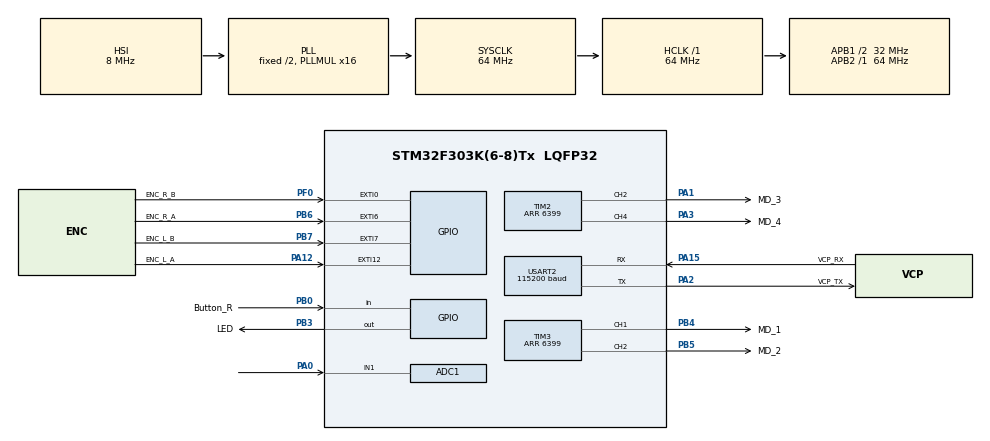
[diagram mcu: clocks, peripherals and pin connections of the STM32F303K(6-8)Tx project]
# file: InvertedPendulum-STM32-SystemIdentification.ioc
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ADC1.Channel-0\#ChannelRegularConversion=ADC_CHANNEL_1
ADC1.InjNumberOfConversion=0
ADC1.NbrOfConversion=1
ADC1.NbrOfConversionFlag=1
ADC1.Offset-0\#ChannelRegularConversion=0
ADC1.OffsetNumber-0\#ChannelRegularConversion=ADC_OFFSET_NONE
ADC1.Rank-0\#ChannelRegularConversion=1
ADC1.Resolution=ADC_RESOLUTION_12B
ADC1.SamplingTime-0\#ChannelRegularConversion=ADC_SAMPLETIME_61CYCLES_5
ADC1.SamplingTimeOPAMP-0\#ChannelRegularConversion=ADC_SAMPLETIME_61CYCLES_5
ADC1.SubFamily=STM32F303x8
ADC1.master=1
Mcu.Family=STM32F3
Mcu.Name=STM32F303K(6-8)Tx
Mcu.Package=LQFP32
NVIC.EXTI0_IRQn=true\:0\:0\:false\:false\:true\:true\:true\:true
NVIC.EXTI15_10_IRQn=true\:0\:0\:false\:false\:true\:true\:true\:true
NVIC.EXTI9_5_IRQn=true\:0\:0\:false\:false\:true\:true\:true\:true
NVIC.PriorityGroup=NVIC_PRIORITYGROUP_4
NVIC.TIM6_DAC1_IRQn=true\:0\:0\:false\:false\:true\:true\:true\:true
PA0.Mode=IN1-Single-Ended
PA0.Signal=ADC1_IN1
PA1.GPIO_Label=MD_3
PA1.Signal=S_TIM2_CH2
PA12.GPIO_Label=ENC_L_A
PA12.GPIO_ModeDefaultEXTI=GPIO_MODE_IT_RISING_FALLING
PA12.GPIO_PuPd=GPIO_PULLUP
PA12.Signal=GPXTI12
PA13.GPIO_Label=SWDIO
PA13.Mode=Serial_Wire
PA13.Signal=SYS_JTMS-SWDIO
PA14.GPIO_Label=SWCLK
PA14.Mode=Serial_Wire
PA14.Signal=SYS_JTCK-SWCLK
PA15.GPIO_Label=VCP_RX
PA15.Mode=Asynchronous
PA15.Signal=USART2_RX
PA2.GPIO_Label=VCP_TX
PA2.Mode=Asynchronous
PA2.Signal=USART2_TX
PA3.GPIO_Label=MD_4
PA3.Signal=S_TIM2_CH4
PB0.GPIO_Label=Button_R
PB0.GPIO_PuPd=GPIO_PULLUP
PB0.Signal=GPIO_Input
PB3.GPIO_Label=LED
PB3.Signal=GPIO_Output
PB4.GPIO_Label=MD_1
PB4.Signal=S_TIM3_CH1
PB5.GPIO_Label=MD_2
PB5.Signal=S_TIM3_CH2
PB6.GPIO_Label=ENC_R_A
PB6.GPIO_ModeDefaultEXTI=GPIO_MODE_IT_RISING_FALLING
PB6.GPIO_PuPd=GPIO_PULLUP
PB6.Signal=GPXTI6
PB7.GPIO_Label=ENC_L_B
PB7.GPIO_ModeDefaultEXTI=GPIO_MODE_IT_RISING_FALLING
PB7.GPIO_PuPd=GPIO_PULLUP
PB7.Signal=GPXTI7
PF0\ /\ OSC_IN.GPIO_Label=ENC_R_B
PF0\ /\ OSC_IN.GPIO_ModeDefaultEXTI=GPIO_MODE_IT_RISING_FALLING
PF0\ /\ OSC_IN.GPIO_PuPd=GPIO_PULLUP
PF0\ /\ OSC_IN.Signal=GPXTI0
ProjectManager.HeapSize=0x200
ProjectManager.StackSize=0x400
ProjectManager.TargetToolchain=STM32CubeIDE
RCC.AHBFreq_Value=64000000
RCC.APB1CLKDivider=RCC_HCLK_DIV2
RCC.APB1Freq_Value=32000000
RCC.APB1TimFreq_Value=64000000
RCC.APB2Freq_Value=64000000
RCC.APB2TimFreq_Value=64000000
RCC.CortexFreq_Value=64000000
RCC.HCLKFreq_Value=64000000
RCC.HSE_VALUE=8000000
RCC.HSI_VALUE=8000000
RCC.PLLMUL=RCC_PLL_MUL16
RCC.SYSCLKFreq_VALUE=64000000
RCC.SYSCLKSourceVirtual=RCC_SYSCLKSOURCE_PLLCLK
SH.S_TIM2_CH2.0=TIM2_CH2,PWM Generation2 CH2
SH.S_TIM2_CH4.0=TIM2_CH4,PWM Generation4 CH4
SH.S_TIM3_CH1.0=TIM3_CH1,PWM Generation1 CH1
SH.S_TIM3_CH2.0=TIM3_CH2,PWM Generation2 CH2
TIM2.Channel-PWM\ Generation2\ CH2=TIM_CHANNEL_2
TIM2.Channel-PWM\ Generation4\ CH4=TIM_CHANNEL_4
TIM2.Period=6399
TIM3.Channel-PWM\ Generation1\ CH1=TIM_CHANNEL_1
TIM3.Channel-PWM\ Generation2\ CH2=TIM_CHANNEL_2
TIM3.Period=6399
TIM6.Period=39999
TIM6.Prescaler=15
USART2.BaudRate=115200
USART2.VirtualMode-Asynchronous=VM_ASYNC
VP_TIM2_VS_ClockSourceINT.Mode=Internal
VP_TIM3_VS_ClockSourceINT.Mode=Internal
VP_TIM6_VS_ClockSourceINT.Mode=Enable_Timer
board=NUCLEO-F303K8

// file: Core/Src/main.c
/* USER CODE BEGIN Header */
/**
 ******************************************************************************
 * @file           : main.c
 * @brief          : Main program body
 ******************************************************************************
 * @attention
 *
 * Copyright (c) 2025 STMicroelectronics.
 * All rights reserved.
 *
 * This software is licensed under terms that can be found in the LICENSE file
 * in the root directory of this software component.
 * If no LICENSE file comes with this software, it is provided AS-IS.
 *
 ******************************************************************************
 */
/* USER CODE END Header */
#include "main.h"

/* USER CODE BEGIN Includes */
#include <stdio.h>
#include <stdbool.h>
#include <math.h>

#include "qei.h"

/* USER CODE END Includes */

/* USER CODE BEGIN PM */
#define PI 3.141592

#define PRESCALER (6399 - 1)

#define ADV_TO_RAD 0.00096633 // (333.3 * ((2.0*pi)/360.0)) / 4.85 * 3.3 / (2^12)
#define MAX_V 7.2
//#define GEAR_RATIO 6.67
//#define ENC_PULSE 12
//#define WHEEL_R 0.0255
#define PULSE_TO_METER 0.0005

#define DT (1.0 / 100.0)
/* USER CODE END PM */

ADC_HandleTypeDef hadc1;

TIM_HandleTypeDef htim2;
TIM_HandleTypeDef htim3;
TIM_HandleTypeDef htim6;

UART_HandleTypeDef huart2;

/* USER CODE BEGIN PV */
bool start = false;

uint16_t ad = 0;
uint16_t zero_ad = 0;
float theta = 0, theta_pre = 0, dtheta = 0;
float x = 0, x_pre = 0, dx = 0;
float e = 0, ed = 0, ei = 0, e_pre = 0;                                 //振子の角度
float v_ref = 0, duty_ratio = 0;                       //電圧指令値　，　デューティー比

QEI_HandleTypeDef hENC_Left, hENC_Right;

int enc_left = 0, enc_right = 0;

uint64_t loop_counter = 0;

//double gain_k[4] = {1.0000, 0.4757, 254.4060, 59.5530};
/* USER CODE END PV */

void SystemClock_Config(void);
static void MX_GPIO_Init(void);
static void MX_USART2_UART_Init(void);
static void MX_TIM2_Init(void);
static void MX_TIM3_Init(void);
static void MX_ADC1_Init(void);
static void MX_TIM6_Init(void);

/* USER CODE BEGIN 0 */
void MoveRightMotor(const float v) {
	float s = v;
	s = s > 1.0 ? 1.0 : s;
	s = s < -1.0 ? -1.0 : s;

	if (s > 0) {
		__HAL_TIM_SET_COMPARE(&htim3, TIM_CHANNEL_1, 0); // 右側 反転
		__HAL_TIM_SET_COMPARE(&htim3, TIM_CHANNEL_2, s * PRESCALER); // 右側 正転
	} else if (s < 0) {
		__HAL_TIM_SET_COMPARE(&htim3, TIM_CHANNEL_1, - s * PRESCALER); // 右側 反転
		__HAL_TIM_SET_COMPARE(&htim3, TIM_CHANNEL_2, 0); // 右側 正転
	} else {
		__HAL_TIM_SET_COMPARE(&htim3, TIM_CHANNEL_1, 0); // 右側 反転
		__HAL_TIM_SET_COMPARE(&htim3, TIM_CHANNEL_2, 0); // 右側 正転
	}
}

void MoveLeftMotor(const float v) {
	float s = v;
	s = s > 1.0 ? 1.0 : s;
	s = s < -1.0 ? -1.0 : s;

	if (s > 0) {
		__HAL_TIM_SET_COMPARE(&htim2, TIM_CHANNEL_2, s * PRESCALER); // 左側 正転
		__HAL_TIM_SET_COMPARE(&htim2, TIM_CHANNEL_4, 0); // 左側 反転
	} else if (s < 0) {
		__HAL_TIM_SET_COMPARE(&htim2, TIM_CHANNEL_2, 0); // 左側 正転
		__HAL_TIM_SET_COMPARE(&htim2, TIM_CHANNEL_4, - s * PRESCALER); // 左側 反転
	} else {
		__HAL_TIM_SET_COMPARE(&htim2, TIM_CHANNEL_2, 0); // 左側 正転
		__HAL_TIM_SET_COMPARE(&htim2, TIM_CHANNEL_4, 0); // 左側 反転
	}
}

void HAL_GPIO_EXTI_Callback(uint16_t GPIO_Pin) {
	if (GPIO_Pin == ENC_L_A_Pin || GPIO_Pin == ENC_L_B_Pin) {
		QEI_Encode(&hENC_Left);
	}
	if (GPIO_Pin == ENC_R_A_Pin || GPIO_Pin == ENC_R_B_Pin) {
		QEI_Encode(&hENC_Right);
	}

}

void HAL_TIM_PeriodElapsedCallback(TIM_HandleTypeDef *htim) {
	if (htim == &htim6) {
		if (start) {
			HAL_ADC_Start(&hadc1);
			if (HAL_ADC_PollForConversion(&hadc1, 10) == HAL_OK) {
				ad = HAL_ADC_GetValue(&hadc1); // 10bit
			}
			HAL_ADC_Stop(&hadc1);

			enc_left += -QEI_GetPulses(&hENC_Left);
			QEI_Reset(&hENC_Left);
			enc_right += QEI_GetPulses(&hENC_Right);
			QEI_Reset(&hENC_Right);

			theta = -(float)(ad - zero_ad) * ADV_TO_RAD; // nop version
			dtheta = (theta - theta_pre) / DT;
			theta_pre = theta;

			x = ((float) (enc_left + enc_right) / 2) * PULSE_TO_METER;
			dx = (x - x_pre) / DT;
			x_pre = x;

//			float frequency = exp(loop_counter / 100.0 * 0.05);
//			float sin_theta = frequency * 2*PI * loop_counter / 100.0;
//			float u = sinf(sin_theta);

			float u = loop_counter / 100.0 * 0.1;

			MoveRightMotor(u);
			MoveLeftMotor(u);

			printf("%f, %f, %f\n", loop_counter / 100.0, u, x);

//			printf("%f, %f\n", loop_counter / 100.0, theta);

			loop_counter++;
		}
	}
}
/* USER CODE END 0 */

int main(void)
{

  /* USER CODE BEGIN 1 */
	setbuf(stdout, NULL);
  /* USER CODE END 1 */

  /* MCU Configuration--------------------------------------------------------*/

  /* Reset of all peripherals, Initializes the Flash interface and the Systick. */
  HAL_Init();

  /* Configure the system clock */
  SystemClock_Config();

  /* Initialize all configured peripherals */
  MX_GPIO_Init();
  MX_USART2_UART_Init();
  MX_TIM2_Init();
  MX_TIM3_Init();
  MX_ADC1_Init();
  MX_TIM6_Init();
  /* USER CODE BEGIN 2 */
	__HAL_TIM_SET_COMPARE(&htim3, TIM_CHANNEL_1, 0); // 右側 反転
	__HAL_TIM_SET_COMPARE(&htim3, TIM_CHANNEL_2, 0); // 右側 正転
	__HAL_TIM_SET_COMPARE(&htim2, TIM_CHANNEL_2, 0); // 左側 正転
	__HAL_TIM_SET_COMPARE(&htim2, TIM_CHANNEL_4, 0); // 左側 反転
	HAL_TIM_PWM_Start(&htim3, TIM_CHANNEL_1);
	HAL_TIM_PWM_Start(&htim3, TIM_CHANNEL_2);
	HAL_TIM_PWM_Start(&htim2, TIM_CHANNEL_2);
	HAL_TIM_PWM_Start(&htim2, TIM_CHANNEL_4);

	HAL_TIM_Base_Start_IT(&htim6);

	QEI_Init(&hENC_Left, ENC_L_A_GPIO_Port, ENC_L_A_Pin, ENC_L_B_GPIO_Port,
			ENC_L_B_Pin, 48, QEI_X4_ENCODING);
	QEI_Init(&hENC_Right, ENC_R_A_GPIO_Port, ENC_R_A_Pin, ENC_R_B_GPIO_Port,
			ENC_R_B_Pin, 48, QEI_X4_ENCODING);
  /* USER CODE END 2 */

  /* Infinite loop */
  /* USER CODE BEGIN WHILE */
	while (1) {
		HAL_GPIO_TogglePin(LED_GPIO_Port, LED_Pin);
		HAL_Delay(100);

		if (!start
				&& HAL_GPIO_ReadPin(Button_R_GPIO_Port, Button_R_Pin)
						== GPIO_PIN_RESET) {
			for (int i = 0; i < 10; i++) {
				HAL_ADC_Start(&hadc1);
				if (HAL_ADC_PollForConversion(&hadc1, 10) == HAL_OK) {
					zero_ad = HAL_ADC_GetValue(&hadc1); // 10bit
				}
				HAL_ADC_Stop(&hadc1);
			}
			HAL_Delay(3000);
			start = true;
		}
    /* USER CODE END WHILE */

	}
}

void SystemClock_Config(void)
{
  RCC_OscInitTypeDef RCC_OscInitStruct = {0};
  RCC_ClkInitTypeDef RCC_ClkInitStruct = {0};
  RCC_PeriphCLKInitTypeDef PeriphClkInit = {0};

  /** Initializes the RCC Oscillators according to the specified parameters
  * in the RCC_OscInitTypeDef structure.
  */
  RCC_OscInitStruct.OscillatorType = RCC_OSCILLATORTYPE_HSI;
  RCC_OscInitStruct.HSIState = RCC_HSI_ON;
  RCC_OscInitStruct.HSICalibrationValue = RCC_HSICALIBRATION_DEFAULT;
  RCC_OscInitStruct.PLL.PLLState = RCC_PLL_ON;
  RCC_OscInitStruct.PLL.PLLSource = RCC_PLLSOURCE_HSI;
  RCC_OscInitStruct.PLL.PLLMUL = RCC_PLL_MUL16;
  if (HAL_RCC_OscConfig(&RCC_OscInitStruct) != HAL_OK)
  {
    Error_Handler();
  }

  /** Initializes the CPU, AHB and APB buses clocks
  */
  RCC_ClkInitStruct.ClockType = RCC_CLOCKTYPE_HCLK|RCC_CLOCKTYPE_SYSCLK
                              |RCC_CLOCKTYPE_PCLK1|RCC_CLOCKTYPE_PCLK2;
  RCC_ClkInitStruct.SYSCLKSource = RCC_SYSCLKSOURCE_PLLCLK;
  RCC_ClkInitStruct.AHBCLKDivider = RCC_SYSCLK_DIV1;
  RCC_ClkInitStruct.APB1CLKDivider = RCC_HCLK_DIV2;
  RCC_ClkInitStruct.APB2CLKDivider = RCC_HCLK_DIV1;

  if (HAL_RCC_ClockConfig(&RCC_ClkInitStruct, FLASH_LATENCY_2) != HAL_OK)
  {
    Error_Handler();
  }
  PeriphClkInit.PeriphClockSelection = RCC_PERIPHCLK_ADC12;
  PeriphClkInit.Adc12ClockSelection = RCC_ADC12PLLCLK_DIV1;
  if (HAL_RCCEx_PeriphCLKConfig(&PeriphClkInit) != HAL_OK)
  {
    Error_Handler();
  }
}

static void MX_ADC1_Init(void)
{

  ADC_MultiModeTypeDef multimode = {0};
  ADC_ChannelConfTypeDef sConfig = {0};

  /** Common config
  */
  hadc1.Instance = ADC1;
  hadc1.Init.ClockPrescaler = ADC_CLOCK_ASYNC_DIV1;
  hadc1.Init.Resolution = ADC_RESOLUTION_12B;
  hadc1.Init.ScanConvMode = ADC_SCAN_DISABLE;
  hadc1.Init.ContinuousConvMode = DISABLE;
  hadc1.Init.DiscontinuousConvMode = DISABLE;
  hadc1.Init.ExternalTrigConvEdge = ADC_EXTERNALTRIGCONVEDGE_NONE;
  hadc1.Init.ExternalTrigConv = ADC_SOFTWARE_START;
  hadc1.Init.DataAlign = ADC_DATAALIGN_RIGHT;
  hadc1.Init.NbrOfConversion = 1;
  hadc1.Init.DMAContinuousRequests = DISABLE;
  hadc1.Init.EOCSelection = ADC_EOC_SINGLE_CONV;
  hadc1.Init.LowPowerAutoWait = DISABLE;
  hadc1.Init.Overrun = ADC_OVR_DATA_OVERWRITTEN;
  if (HAL_ADC_Init(&hadc1) != HAL_OK)
  {
    Error_Handler();
  }

  /** Configure the ADC multi-mode
  */
  multimode.Mode = ADC_MODE_INDEPENDENT;
  if (HAL_ADCEx_MultiModeConfigChannel(&hadc1, &multimode) != HAL_OK)
  {
    Error_Handler();
  }

  /** Configure Regular Channel
  */
  sConfig.Channel = ADC_CHANNEL_1;
  sConfig.Rank = ADC_REGULAR_RANK_1;
  sConfig.SingleDiff = ADC_SINGLE_ENDED;
  sConfig.SamplingTime = ADC_SAMPLETIME_61CYCLES_5;
  sConfig.OffsetNumber = ADC_OFFSET_NONE;
  sConfig.Offset = 0;
  if (HAL_ADC_ConfigChannel(&hadc1, &sConfig) != HAL_OK)
  {
    Error_Handler();
  }

}

static void MX_TIM2_Init(void)
{

  TIM_ClockConfigTypeDef sClockSourceConfig = {0};
  TIM_MasterConfigTypeDef sMasterConfig = {0};
  TIM_OC_InitTypeDef sConfigOC = {0};

  htim2.Instance = TIM2;
  htim2.Init.Prescaler = 0;
  htim2.Init.CounterMode = TIM_COUNTERMODE_UP;
  htim2.Init.Period = 6399;
  htim2.Init.ClockDivision = TIM_CLOCKDIVISION_DIV1;
  htim2.Init.AutoReloadPreload = TIM_AUTORELOAD_PRELOAD_DISABLE;
  if (HAL_TIM_Base_Init(&htim2) != HAL_OK)
  {
    Error_Handler();
  }
  sClockSourceConfig.ClockSource = TIM_CLOCKSOURCE_INTERNAL;
  if (HAL_TIM_ConfigClockSource(&htim2, &sClockSourceConfig) != HAL_OK)
  {
    Error_Handler();
  }
  if (HAL_TIM_PWM_Init(&htim2) != HAL_OK)
  {
    Error_Handler();
  }
  sMasterConfig.MasterOutputTrigger = TIM_TRGO_RESET;
  sMasterConfig.MasterSlaveMode = TIM_MASTERSLAVEMODE_DISABLE;
  if (HAL_TIMEx_MasterConfigSynchronization(&htim2, &sMasterConfig) != HAL_OK)
  {
    Error_Handler();
  }
  sConfigOC.OCMode = TIM_OCMODE_PWM1;
  sConfigOC.Pulse = 0;
  sConfigOC.OCPolarity = TIM_OCPOLARITY_HIGH;
  sConfigOC.OCFastMode = TIM_OCFAST_DISABLE;
  if (HAL_TIM_PWM_ConfigChannel(&htim2, &sConfigOC, TIM_CHANNEL_2) != HAL_OK)
  {
    Error_Handler();
  }
  if (HAL_TIM_PWM_ConfigChannel(&htim2, &sConfigOC, TIM_CHANNEL_4) != HAL_OK)
  {
    Error_Handler();
  }
  HAL_TIM_MspPostInit(&htim2);

}

static void MX_TIM3_Init(void)
{

  TIM_ClockConfigTypeDef sClockSourceConfig = {0};
  TIM_MasterConfigTypeDef sMasterConfig = {0};
  TIM_OC_InitTypeDef sConfigOC = {0};

  htim3.Instance = TIM3;
  htim3.Init.Prescaler = 0;
  htim3.Init.CounterMode = TIM_COUNTERMODE_UP;
  htim3.Init.Period = 6399;
  htim3.Init.ClockDivision = TIM_CLOCKDIVISION_DIV1;
  htim3.Init.AutoReloadPreload = TIM_AUTORELOAD_PRELOAD_DISABLE;
  if (HAL_TIM_Base_Init(&htim3) != HAL_OK)
  {
    Error_Handler();
  }
  sClockSourceConfig.ClockSource = TIM_CLOCKSOURCE_INTERNAL;
  if (HAL_TIM_ConfigClockSource(&htim3, &sClockSourceConfig) != HAL_OK)
  {
    Error_Handler();
  }
  if (HAL_TIM_PWM_Init(&htim3) != HAL_OK)
  {
    Error_Handler();
  }
  sMasterConfig.MasterOutputTrigger = TIM_TRGO_RESET;
  sMasterConfig.MasterSlaveMode = TIM_MASTERSLAVEMODE_DISABLE;
  if (HAL_TIMEx_MasterConfigSynchronization(&htim3, &sMasterConfig) != HAL_OK)
  {
    Error_Handler();
  }
  sConfigOC.OCMode = TIM_OCMODE_PWM1;
  sConfigOC.Pulse = 0;
  sConfigOC.OCPolarity = TIM_OCPOLARITY_HIGH;
  sConfigOC.OCFastMode = TIM_OCFAST_DISABLE;
  if (HAL_TIM_PWM_ConfigChannel(&htim3, &sConfigOC, TIM_CHANNEL_1) != HAL_OK)
  {
    Error_Handler();
  }
  if (HAL_TIM_PWM_ConfigChannel(&htim3, &sConfigOC, TIM_CHANNEL_2) != HAL_OK)
  {
    Error_Handler();
  }
  HAL_TIM_MspPostInit(&htim3);

}

static void MX_TIM6_Init(void)
{

  TIM_MasterConfigTypeDef sMasterConfig = {0};

  htim6.Instance = TIM6;
  htim6.Init.Prescaler = 15;
  htim6.Init.CounterMode = TIM_COUNTERMODE_UP;
  htim6.Init.Period = 39999;
  htim6.Init.AutoReloadPreload = TIM_AUTORELOAD_PRELOAD_DISABLE;
  if (HAL_TIM_Base_Init(&htim6) != HAL_OK)
  {
    Error_Handler();
  }
  sMasterConfig.MasterOutputTrigger = TIM_TRGO_RESET;
  sMasterConfig.MasterSlaveMode = TIM_MASTERSLAVEMODE_DISABLE;
  if (HAL_TIMEx_MasterConfigSynchronization(&htim6, &sMasterConfig) != HAL_OK)
  {
    Error_Handler();
  }

}

static void MX_USART2_UART_Init(void)
{

  huart2.Instance = USART2;
  huart2.Init.BaudRate = 115200;
  huart2.Init.WordLength = UART_WORDLENGTH_8B;
  huart2.Init.StopBits = UART_STOPBITS_1;
  huart2.Init.Parity = UART_PARITY_NONE;
  huart2.Init.Mode = UART_MODE_TX_RX;
  huart2.Init.HwFlowCtl = UART_HWCONTROL_NONE;
  huart2.Init.OverSampling = UART_OVERSAMPLING_16;
  huart2.Init.OneBitSampling = UART_ONE_BIT_SAMPLE_DISABLE;
  huart2.AdvancedInit.AdvFeatureInit = UART_ADVFEATURE_NO_INIT;
  if (HAL_UART_Init(&huart2) != HAL_OK)
  {
    Error_Handler();
  }

}

static void MX_GPIO_Init(void)
{
  GPIO_InitTypeDef GPIO_InitStruct = {0};

  /* GPIO Ports Clock Enable */
  __HAL_RCC_GPIOF_CLK_ENABLE();
  __HAL_RCC_GPIOA_CLK_ENABLE();
  __HAL_RCC_GPIOB_CLK_ENABLE();

  /*Configure GPIO pin Output Level */
  HAL_GPIO_WritePin(LED_GPIO_Port, LED_Pin, GPIO_PIN_RESET);

  /*Configure GPIO pin : ENC_R_B_Pin */
  GPIO_InitStruct.Pin = ENC_R_B_Pin;
  GPIO_InitStruct.Mode = GPIO_MODE_IT_RISING_FALLING;
  GPIO_InitStruct.Pull = GPIO_PULLUP;
  HAL_GPIO_Init(ENC_R_B_GPIO_Port, &GPIO_InitStruct);

  /*Configure GPIO pin : Button_R_Pin */
  GPIO_InitStruct.Pin = Button_R_Pin;
  GPIO_InitStruct.Mode = GPIO_MODE_INPUT;
  GPIO_InitStruct.Pull = GPIO_PULLUP;
  HAL_GPIO_Init(Button_R_GPIO_Port, &GPIO_InitStruct);

  /*Configure GPIO pin : ENC_L_A_Pin */
  GPIO_InitStruct.Pin = ENC_L_A_Pin;
  GPIO_InitStruct.Mode = GPIO_MODE_IT_RISING_FALLING;
  GPIO_InitStruct.Pull = GPIO_PULLUP;
  HAL_GPIO_Init(ENC_L_A_GPIO_Port, &GPIO_InitStruct);

  /*Configure GPIO pin : LED_Pin */
  GPIO_InitStruct.Pin = LED_Pin;
  GPIO_InitStruct.Mode = GPIO_MODE_OUTPUT_PP;
  GPIO_InitStruct.Pull = GPIO_NOPULL;
  GPIO_InitStruct.Speed = GPIO_SPEED_FREQ_LOW;
  HAL_GPIO_Init(LED_GPIO_Port, &GPIO_InitStruct);

  /*Configure GPIO pins : ENC_R_A_Pin ENC_L_B_Pin */
  GPIO_InitStruct.Pin = ENC_R_A_Pin|ENC_L_B_Pin;
  GPIO_InitStruct.Mode = GPIO_MODE_IT_RISING_FALLING;
  GPIO_InitStruct.Pull = GPIO_PULLUP;
  HAL_GPIO_Init(GPIOB, &GPIO_InitStruct);

  /* EXTI interrupt init*/
  HAL_NVIC_SetPriority(EXTI0_IRQn, 0, 0);
  HAL_NVIC_EnableIRQ(EXTI0_IRQn);

  HAL_NVIC_SetPriority(EXTI9_5_IRQn, 0, 0);
  HAL_NVIC_EnableIRQ(EXTI9_5_IRQn);

  HAL_NVIC_SetPriority(EXTI15_10_IRQn, 0, 0);
  HAL_NVIC_EnableIRQ(EXTI15_10_IRQn);

}

/* USER CODE BEGIN 4 */
int _write(int file, char *ptr, int len)
{
  HAL_UART_Transmit(&huart2,(uint8_t *)ptr,len,10);
  return len;
}
/* USER CODE END 4 */

void Error_Handler(void)
{
	__disable_irq();
	while (1) {
	}
}
